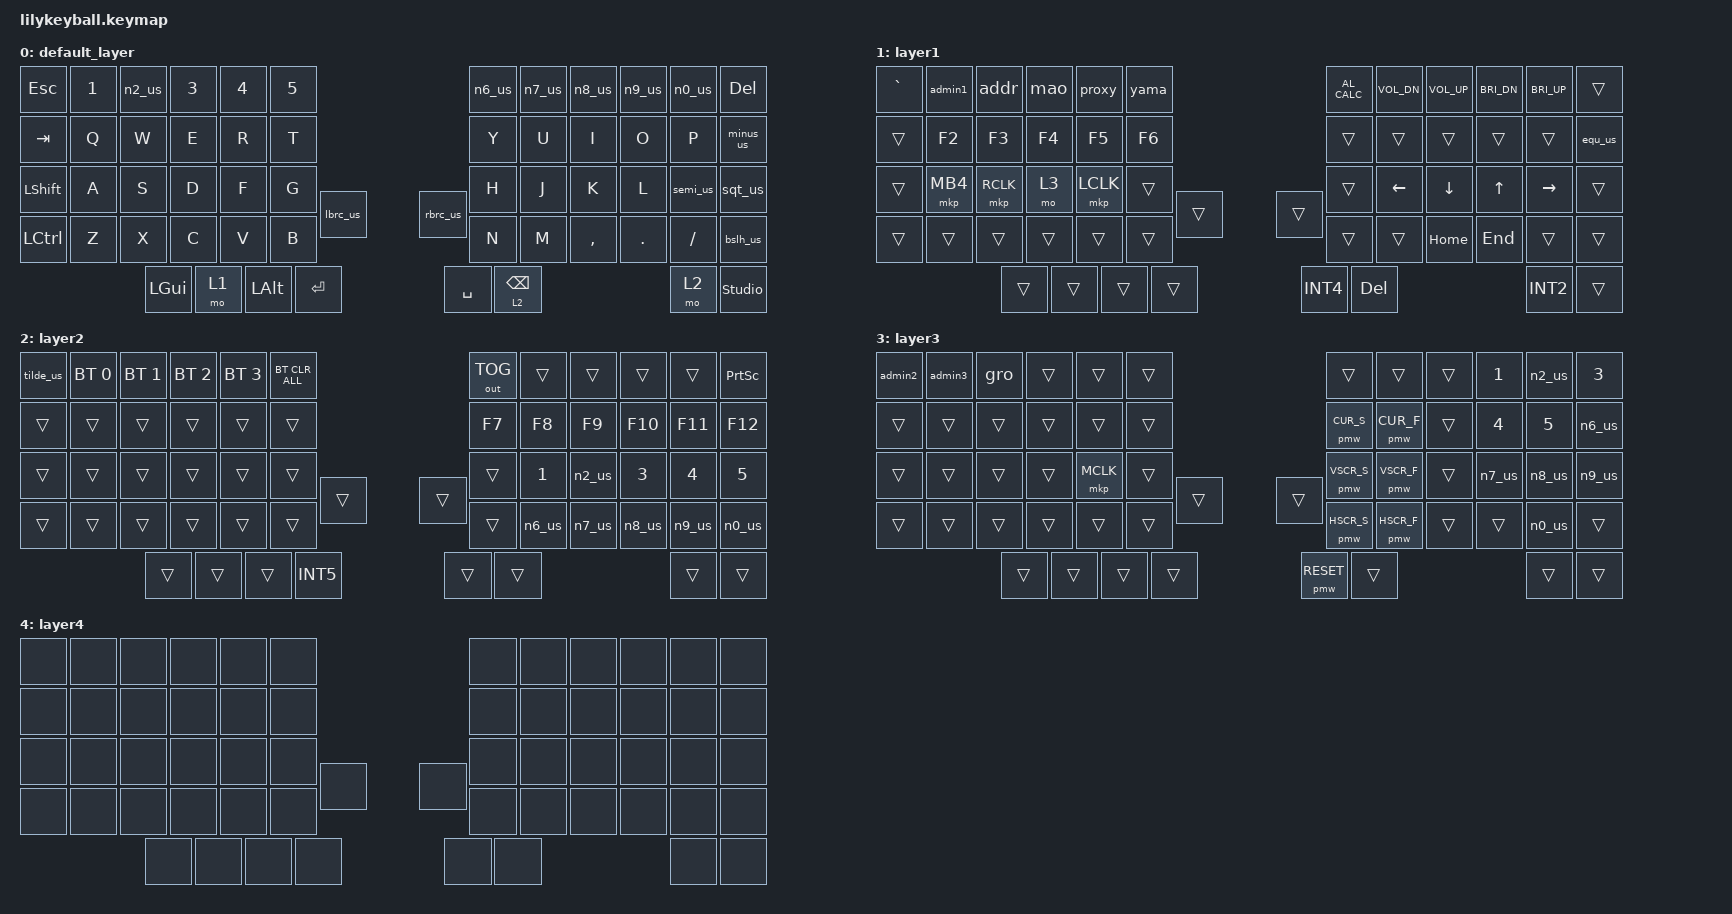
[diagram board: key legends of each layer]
// This file was generated from a template. Edit it to match your keyboard.
// See https://zmk.dev/docs/development/hardware-integration/new-shield for more instructions.

#include <behaviors.dtsi>
#include <dt-bindings/zmk/bt.h>
#include <dt-bindings/zmk/keys.h>

#define MACRO_WAIT_MS 25
#define MACRO_TAP_MS  10
#define MACRO_BLOCK_LAYER 4

#define CUR_S 0
#define CUR_F 1
#define VSCR_S 2
#define VSCR_F 3
#define HSCR_S 4
#define HSCR_F 5
#define TOGGLE_CURSOR_X 6
#define TOGGLE_CURSOR_Y 7
#define TOGGLE_SCROLL_X 8
#define TOGGLE_SCROLL_Y 9
#define RESET 10

/ {
    behaviors {
        pmw: pmw {
            compatible = "pixart,behavior-pmw3360-config";
            #binding-cells = <1>;
        };

        addr: addr {
            compatible = "zmk,behavior-macro";
            #binding-cells = <0>;
            wait-ms = <MACRO_WAIT_MS>;
            tap-ms = <MACRO_TAP_MS>;

            bindings =
                <&macro_press &mo MACRO_BLOCK_LAYER>
                , <&macro_tap>
                , <&kp Y>
                , <&kp A>
                , <&kp M>
                , <&kp A>
                , <&kp M>
                , <&kp O>
                , <&kp T>
                , <&kp O>
                , <&kp DOT>
                , <&kp M>
                , <&kp A>
                , <&kp O>
                , <&kp LBKT>
                , <&kp J>
                , <&kp P>
                , <&kp DOT>
                , <&kp F>
                , <&kp U>
                , <&kp J>
                , <&kp I>
                , <&kp T>
                , <&kp S>
                , <&kp U>
                , <&kp DOT>
                , <&kp C>
                , <&kp O>
                , <&kp M>
                , <&macro_release &mo MACRO_BLOCK_LAYER>
                ;
        };

        admin1: admin1 {
            compatible = "zmk,behavior-macro";
            #binding-cells = <0>;
            wait-ms = <MACRO_WAIT_MS>;
            tap-ms = <MACRO_TAP_MS>;

            bindings =
                <&macro_press &mo MACRO_BLOCK_LAYER>
                , <&macro_tap>
                , <&kp LS(A)>
                , <&kp D>
                , <&kp M>
                , <&kp I>
                , <&kp N>
                , <&kp MINUS>
                , <&kp LS(M)>
                , <&kp A>
                , <&kp S>
                , <&kp T>
                , <&kp E>
                , <&kp R>
                , <&macro_release &mo MACRO_BLOCK_LAYER>
                ;
        };

        admin2: admin2 {
            compatible = "zmk,behavior-macro";
            #binding-cells = <0>;
            wait-ms = <MACRO_WAIT_MS>;
            tap-ms = <MACRO_TAP_MS>;

            bindings =
                <&macro_press &mo MACRO_BLOCK_LAYER>
                , <&macro_tap>
                , <&kp LS(A)>
                , <&kp D>
                , <&kp M>
                , <&kp I>
                , <&kp N>
                , <&kp LS(FSLH)>
                , <&kp LS(M)>
                , <&kp A>
                , <&kp S>
                , <&kp T>
                , <&kp E>
                , <&kp R>
                , <&kp N1>
                , <&macro_release &mo MACRO_BLOCK_LAYER>
                ;
        };

        admin3: admin3 {
            compatible = "zmk,behavior-macro";
            #binding-cells = <0>;
            wait-ms = <MACRO_WAIT_MS>;
            tap-ms = <MACRO_TAP_MS>;

            bindings =
                <&macro_press &mo MACRO_BLOCK_LAYER>
                , <&macro_tap>
                , <&kp F>
                , <&kp J>
                , <&kp MINUS>
                , <&kp S>
                , <&kp O>
                , <&kp F>
                , <&kp T>
                , <&kp MINUS>
                , <&kp C>
                , <&kp H>
                , <&kp A>
                , <&kp R>
                , <&kp MINUS>
                , <&kp N1>
                , <&kp M>
                , <&kp E>
                , <&macro_release &mo MACRO_BLOCK_LAYER>
                ;
        };

        yama: yama {
            compatible = "zmk,behavior-macro";
            #binding-cells = <0>;
            wait-ms = <MACRO_WAIT_MS>;
            tap-ms = <MACRO_TAP_MS>;

            bindings =
                <&macro_press &mo MACRO_BLOCK_LAYER>
                , <&macro_tap>
                , <&kp N0>
                , <&kp N9>
                , <&kp Y>
                , <&kp A>
                , <&kp M>
                , <&kp A>
                , <&kp N2>
                , <&kp N7>
                , <&macro_release &mo MACRO_BLOCK_LAYER>
                ;
        };

        mao: mao {
            compatible = "zmk,behavior-macro";
            #binding-cells = <0>;
            wait-ms = <MACRO_WAIT_MS>;
            tap-ms = <MACRO_TAP_MS>;

            bindings =
                <&macro_press &mo MACRO_BLOCK_LAYER>
                , <&macro_tap>
                , <&kp N0>
                , <&kp N9>
                , <&kp LS(M)>
                , <&kp A>
                , <&kp O>
                , <&kp N2>
                , <&kp N7>
                , <&kp LS(FSLH)>
                , <&kp N0>
                , <&kp N0>
                , <&macro_release &mo MACRO_BLOCK_LAYER>
                ;
        };

        gro: gro {
            compatible = "zmk,behavior-macro";
            #binding-cells = <0>;
            wait-ms = <MACRO_WAIT_MS>;
            tap-ms = <MACRO_TAP_MS>;

            bindings =
                <&macro_press &mo MACRO_BLOCK_LAYER>
                , <&macro_tap>
                , <&kp LS(R)>
                , <&kp S>
                , <&kp LS(Y)>
                , <&kp LS(A)>
                , <&kp LS(FSLH)>
                , <&kp LS(T)>
                , <&kp LS(L)>
                , <&kp LS(N9)>
                , <&kp N4>
                , <&kp LS(X)>
                , <&macro_release &mo MACRO_BLOCK_LAYER>
                ;
        };

        proxy: proxy {
            compatible = "zmk,behavior-macro";
            #binding-cells = <0>;
            wait-ms = <MACRO_WAIT_MS>;
            tap-ms = <MACRO_TAP_MS>;

            bindings =
                <&macro_press &mo MACRO_BLOCK_LAYER>
                , <&macro_tap>
                , <&kp N3>
                , <&kp N1>
                , <&kp N4>
                , <&kp N1>
                , <&kp N5>
                , <&kp N9>
                , <&kp N2>
                , <&macro_release &mo MACRO_BLOCK_LAYER>
                ;
        };

        bios: bios {
            compatible = "zmk,behavior-macro";
            #binding-cells = <0>;
            wait-ms = <MACRO_WAIT_MS>;
            tap-ms = <MACRO_TAP_MS>;

            bindings =
                <&macro_press &mo MACRO_BLOCK_LAYER>
                , <&macro_tap>
                , <&kp M>
                , <&kp Z>
                , <&kp N2>
                , <&kp Y>
                , <&kp H>
                , <&kp Y>
                , <&kp S>
                , <&kp N5>
                , <&macro_release &mo MACRO_BLOCK_LAYER>
                ;
        };

        n2_us: n2_us {
            compatible = "zmk,behavior-mod-morph";
            #binding-cells = <0>;
            bindings = <&kp N2>, <&kp LBKT>;
            mods = <(MOD_LSFT|MOD_RSFT)>;
        };

        n6_us: n6_us {
            compatible = "zmk,behavior-mod-morph";
            #binding-cells = <0>;
            bindings = <&kp N6>, <&kp EQUAL>;
            mods = <(MOD_LSFT|MOD_RSFT)>;
        };

        n7_us: n7_us {
            compatible = "zmk,behavior-mod-morph";
            #binding-cells = <0>;
            bindings = <&kp N7>, <&kp LS(N6)>;
            mods = <(MOD_LSFT|MOD_RSFT)>;
        };

        n8_us: n8_us {
            compatible = "zmk,behavior-mod-morph";
            #binding-cells = <0>;
            bindings = <&kp N8>, <&kp LS(SQT)>;
            mods = <(MOD_LSFT|MOD_RSFT)>;
        };

        n9_us: n9_us {
            compatible = "zmk,behavior-mod-morph";
            #binding-cells = <0>;
            bindings = <&kp N9>, <&kp LS(N8)>;
            mods = <(MOD_LSFT|MOD_RSFT)>;
        };

        n0_us: n0_us {
            compatible = "zmk,behavior-mod-morph";
            #binding-cells = <0>;
            bindings = <&kp N0>, <&kp LS(N9)>;
            mods = <(MOD_LSFT|MOD_RSFT)>;
        };

        semi_us: semi_us {
            compatible = "zmk,behavior-mod-morph";
            #binding-cells = <0>;
            bindings = <&kp SEMI>, <&kp SQT>;
            mods = <(MOD_LSFT|MOD_RSFT)>;
        };

        sqt_us: sqt_us {
            compatible = "zmk,behavior-mod-morph";
            #binding-cells = <0>;
            bindings = <&kp LS(N7)>, <&kp LS(N2)>;
            mods = <(MOD_LSFT|MOD_RSFT)>;
        };

        lbrc_us: lbrc_us {
            compatible = "zmk,behavior-mod-morph";
            #binding-cells = <0>;
            bindings = <&kp RBKT>, <&kp LS(RBKT)>;
            mods = <(MOD_LSFT|MOD_RSFT)>;
        };

        rbrc_us: rbrc_us {
            compatible = "zmk,behavior-mod-morph";
            #binding-cells = <0>;
            bindings = <&kp BSLH>, <&kp LS(BSLH)>;
            mods = <(MOD_LSFT|MOD_RSFT)>;
        };

        minus_us: minus_us {
            compatible = "zmk,behavior-mod-morph";
            #binding-cells = <0>;
            bindings = <&kp MINUS>, <&kp LS(INT1)>;
            mods = <(MOD_LSFT|MOD_RSFT)>;
        };

        bslh_us: bslh_us {
            compatible = "zmk,behavior-mod-morph";
            #binding-cells = <0>;
            bindings = <&kp INT3>, <&kp LS(INT3)>;
            mods = <(MOD_LSFT|MOD_RSFT)>;
        };

        equ_us: equ_us {
            compatible = "zmk,behavior-mod-morph";
            #binding-cells = <0>;
            bindings = <&kp LS(MINUS)>, <&kp LS(SEMICOLON)>;
            mods = <(MOD_LSFT|MOD_RSFT)>;
        };

        tilde_us: tilde_us {
            compatible = "zmk,behavior-mod-morph";
            #binding-cells = <0>;
            bindings = <&kp LS(EQUAL)>, <&kp LS(LBKT)>;
            mods = <(MOD_LSFT|MOD_RSFT)>;
        };

        bspc_mo: bspc_mo { 
            compatible = "zmk,behavior-hold-tap";
            #binding-cells = <2>;
            flavor = "tap-preferred";
            tapping-term-ms = <150>;
            quick-tap-ms = <250>;
            bindings = <&mo>, <&kp>;
        };
    };

    combos {
        compatible = "zmk,combos";

        jk_click {
            timeout-ms = <50>;
            key-positions = <31 32>;
            bindings = <&mkp LCLK>;
            layers = <0>;
            slow-release;
        };

        kl_click {
            timeout-ms = <50>;
            key-positions = <32 33>;
            bindings = <&mkp RCLK>;
            layers = <0>;
            slow-release;
        };

        jl_click {
            timeout-ms = <50>;
            key-positions = <31 33>;
            bindings = <&mkp MCLK>;
            layers = <0>;
            slow-release;
        };

        jkl_scroll {
            timeout-ms = <50>;
            key-positions = <31 32 33>;
            bindings = <&mo 3>;
            layers = <0>;
            slow-release;
        };
    };

    // Define a default keymap here.
    // See https://zmk.dev/docs/development/hardware-integration/new-shield#default-keymap.
    keymap {
        compatible = "zmk,keymap";

        default_layer {
            bindings = <
                &kp ESC      &kp N1       &n2_us       &kp N3       &kp N4       &kp N5                                 &n6_us       &n7_us       &n8_us       &n9_us       &n0_us       &kp DEL
                &kp TAB      &kp Q        &kp W        &kp E        &kp R        &kp T                                  &kp Y        &kp U        &kp I        &kp O        &kp P        &minus_us
                &kp LSHFT    &kp A        &kp S        &kp D        &kp F        &kp G                                  &kp H        &kp J        &kp K        &kp L        &semi_us     &sqt_us
                &kp LCTRL    &kp Z        &kp X        &kp C        &kp V        &kp B      &lbrc_us        &rbrc_us    &kp N        &kp M        &kp COMMA    &kp DOT      &kp FSLH     &bslh_us
                                                       &kp LGUI     &mo 1        &kp LALT   &kp ENTER       &kp SPACE   &bspc_mo 2 BSPC                                     &mo 2        &studio_unlock
            >;
        };

        layer1 {
            bindings = <
                &kp GRAVE    &admin1      &addr        &mao         &proxy       &yama                                  &kp C_AL_CALC &kp C_VOL_DN &kp C_VOL_UP &kp C_BRI_DN &kp C_BRI_UP &trans
                &trans       &kp F2       &kp F3       &kp F4       &kp F5       &kp F6                                 &trans       &trans       &trans       &trans       &trans       &equ_us
                &trans       &mkp MB4     &mkp RCLK    &mo 3        &mkp LCLK    &trans                                 &trans       &kp LEFT     &kp DOWN     &kp UP       &kp RIGHT    &trans
                &trans       &trans       &trans       &trans       &trans       &trans       &trans       &trans       &trans       &trans       &kp HOME     &kp END      &trans       &trans
                                                       &trans       &trans       &trans       &trans       &kp INT4     &kp DEL                                             &kp INT2     &trans
            >;
        };

        layer2 {
            bindings = <
                &tilde_us    &bt BT_SEL 0 &bt BT_SEL 1 &bt BT_SEL 2 &bt BT_SEL 3 &bt BT_CLR_ALL                         &out OUT_TOG &trans       &trans       &trans       &trans       &kp PSCRN
                &trans       &trans       &trans       &trans       &trans       &trans                                 &kp F7       &kp F8       &kp F9       &kp F10      &kp F11      &kp F12
                &trans       &trans       &trans       &trans       &trans       &trans                                 &trans       &kp N1       &n2_us       &kp N3       &kp N4       &kp N5
                &trans       &trans       &trans       &trans       &trans       &trans       &trans       &trans       &trans       &n6_us       &n7_us       &n8_us       &n9_us       &n0_us
                                                       &trans       &trans       &trans       &kp INT5     &trans       &trans                                              &trans       &trans
            >;
        };

        layer3 {
            bindings = <
                &admin2      &admin3      &gro         &trans       &trans       &trans                                 &trans       &trans       &trans       &kp N1       &n2_us       &kp N3
                &trans       &trans       &trans       &trans       &trans       &trans                                 &pmw CUR_S   &pmw CUR_F   &trans       &kp N4       &kp N5       &n6_us
                &trans       &trans       &trans       &trans       &mkp MCLK    &trans                                 &pmw VSCR_S  &pmw VSCR_F  &trans       &n7_us       &n8_us       &n9_us
                &trans       &trans       &trans       &trans       &trans       &trans       &trans       &trans       &pmw HSCR_S  &pmw HSCR_F  &trans       &trans       &n0_us       &trans
                                                       &trans       &trans       &trans       &trans       &pmw RESET   &trans                                              &trans       &trans
            >;
        };

        layer4 {
            bindings = <
                &none        &none        &none        &none        &none        &none                                  &none        &none        &none        &none        &none        &none 
                &none        &none        &none        &none        &none        &none                                  &none        &none        &none        &none        &none        &none 
                &none        &none        &none        &none        &none        &none                                  &none        &none        &none        &none        &none        &none 
                &none        &none        &none        &none        &none        &none        &none        &none        &none        &none        &none        &none        &none        &none 
                                                       &none        &none        &none        &none        &none        &none                                               &none        &none 
            >;
        };

    };
};
